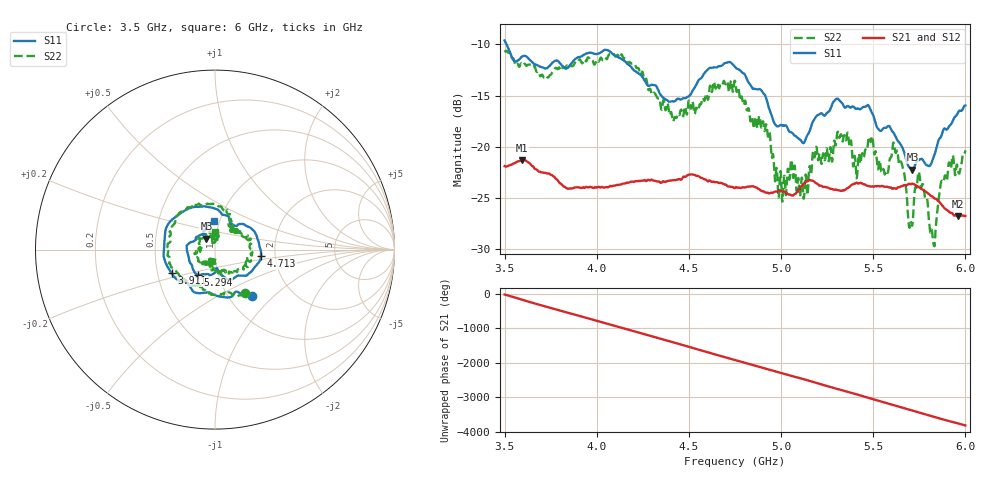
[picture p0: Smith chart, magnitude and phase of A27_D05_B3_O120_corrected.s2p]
! Created with skrf 1.9.0 (http://scikit-rf.org).
# Hz S RI R 50.0
!freq ReS11 ImS11 ReS21 ImS21 ReS12 ImS12 ReS22 ImS22
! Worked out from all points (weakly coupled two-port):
!   1601 points, 3.5 GHz to 6 GHz, reference 50 ohm
!   highest |S21| = -21.31 dB at 3.592 GHz (marker M1); lowest = -26.8 dB at 5.961 GHz (marker M2)
!   lowest |S11| = -22.3 dB at 5.713 GHz (marker M3), VSWR 1.17, Z = 45.1 + j5.47 ohm
!   |S11| at or under -10 dB: 3.511 GHz to end of sweep
!   |S22| runs from -29.8 to -10.6 dB; largest |S21 - S12| = 0.00093
!   S11 on the Smith chart (normalised r, x): 3.5 GHz: 1.27, -0.74; 3.911 GHz: 0.59, -0.17; 4.713 GHz: 1.68, -0.13; 5.294 GHz: 0.80, -0.23; 6 GHz: 0.94, +0.31
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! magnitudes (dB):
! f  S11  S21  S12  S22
! 3.5 GHz  -9.6  -21.9  -21.9  -10.6
! 3.592 GHz  -11.2  -21.3  -21.3  -11.9
! 3.911 GHz  -11.2  -24.0  -24.0  -11.5
! 3.917 GHz  -11.2  -24.1  -24.0  -11.8
! 4.142 GHz  -11.5  -23.6  -23.6  -11.3
! 4.334 GHz  -14.5  -23.4  -23.4  -15.3
! 4.422 GHz  -15.6  -23.3  -23.3  -17.2
! 4.713 GHz  -11.7  -23.9  -23.9  -14.1
! 4.75 GHz  -12.2  -24.1  -24.0  -13.6
! 4.928 GHz  -15.8  -24.5  -24.5  -19.0
! 4.997 GHz  -17.9  -24.4  -24.3  -22.4
! 5.133 GHz  -19.3  -23.5  -23.4  -22.7
! 5.167 GHz  -17.8  -23.3  -23.3  -21.8
! 5.294 GHz  -15.4  -24.2  -24.2  -19.8
! 5.584 GHz  -18.0  -24.0  -24.0  -21.9
! 5.62 GHz  -19.0  -24.1  -24.1  -20.6
! 5.713 GHz  -22.3  -23.6  -23.6  -27.7
! 5.755 GHz  -21.3  -24.1  -24.0  -23.3
! 5.827 GHz  -21.1  -25.0  -25.0  -29.5
! 5.875 GHz  -18.6  -25.8  -25.7  -23.4
! 5.961 GHz  -16.6  -26.8  -26.8  -22.5
! 6 GHz  -16.0  -26.8  -26.8  -20.4
